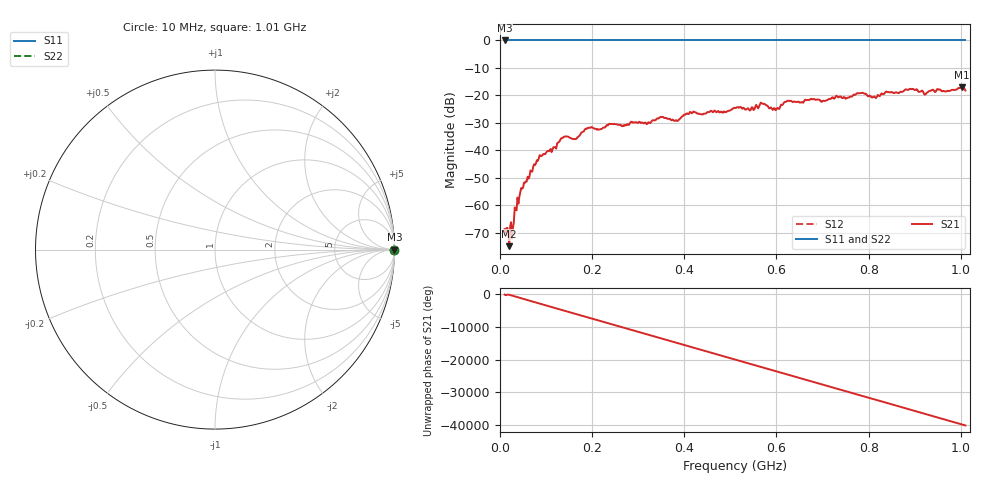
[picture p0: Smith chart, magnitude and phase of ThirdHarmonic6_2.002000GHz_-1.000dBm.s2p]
! 8/17/2025 12:03:14 AM
! C:\ANRITSUVNA\TEMP\TEMP.S2P
! CHANNEL.1
! TR.MEASUREMENT
! RAW.DATA
! RF.CORRECTION.OFF
! AVERAGING.OFF
! IF.BANDWIDTH: 5KHZ
! SWEEPTYPE:  FREQ.SWEEP(Linear)
! Reference Plane Port Info
! PORT:  PORT1  PORT2
! DISTANCE:  0  m  0  m
! TIME:  0  s  0  s
! PHASE.OFFSET:  0  deg.  0  deg.
! LOSS:  0  dB  0  dB
! REF.LOSS:  0  dB  0  dB
! REF.FREQ:  0  Hz  0  Hz
! Power Info
! POWER:  -20  dBm  -20  dBm
! EFF.POWER:  -20  dBm  -20  dBm
! SOURCE.ATTEN:  0  dB  0  dB
! TEST.ATTEN:  0  dB  0  dB
# GHZ S RI R 50.0
! FREQ.GHZ  S11RE  S11IM  S21RE  S21IM  S12RE  S12IM  S22RE  S22IM
!; PortSelection: Port_12
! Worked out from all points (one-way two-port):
!   501 points, 10 MHz to 1.01 GHz, reference 50 ohm
!   highest |S21| = -17.09 dB at 1.002 GHz (marker M1); lowest = -75.0 dB at 20 MHz (marker M2)
!   lowest |S11| = 0.0 dB at 10 MHz (marker M3)
!   |S11| at or under -10 dB: nowhere
!   |S22| runs from 0.0 to 0.0 dB; largest |S21 - S12| = 1.1
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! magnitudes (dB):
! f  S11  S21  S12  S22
! 10 MHz  0.0  -68.8  0.0  0.0
! 20 MHz  0.0  -75.0  0.0  0.0
! 24 MHz  0.0  -66.2  0.0  0.0
! 36 MHz  0.0  -61.9  0.0  0.0
! 48 MHz  0.0  -54.0  0.0  0.0
! 84 MHz  0.0  -43.1  0.0  0.0
! 136 MHz  0.0  -35.5  0.0  0.0
! 162 MHz  0.0  -35.9  0.0  0.0
! 178 MHz  0.0  -33.4  0.0  0.0
! 344 MHz  0.0  -28.5  0.0  0.0
! 382 MHz  0.0  -29.0  0.0  0.0
! 416 MHz  0.0  -26.6  0.0  0.0
! 510 MHz  0.0  -24.6  0.0  0.0
! 546 MHz  0.0  -24.4  0.0  0.0
! 570 MHz  0.0  -23.1  0.0  0.0
! 602 MHz  0.0  -24.6  0.0  0.0
! 622 MHz  0.0  -22.2  0.0  0.0
! 678 MHz  0.0  -21.5  0.0  0.0
! 812 MHz  0.0  -20.4  0.0  0.0
! 844 MHz  0.0  -18.8  0.0  0.0
! 1.002 GHz  0.0  -17.1  0.0  0.0
! 1.01 GHz  0.0  -18.2  0.0  0.0
